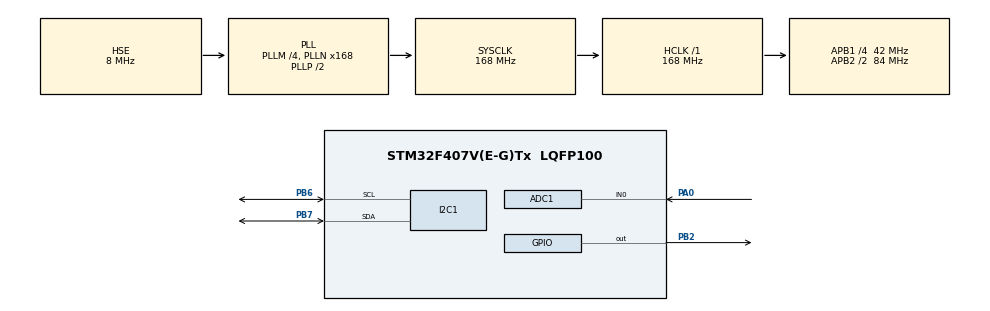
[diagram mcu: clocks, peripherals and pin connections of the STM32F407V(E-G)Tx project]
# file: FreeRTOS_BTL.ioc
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ADC1.Channel-0\#ChannelRegularConversion=ADC_CHANNEL_0
ADC1.NbrOfConversionFlag=1
ADC1.Rank-0\#ChannelRegularConversion=1
ADC1.SamplingTime-0\#ChannelRegularConversion=ADC_SAMPLETIME_3CYCLES
ADC1.master=1
FREERTOS.Tasks01=defaultTask,0,128,StartDefaultTask,Default,NULL,Dynamic,NULL,NULL
Mcu.Family=STM32F4
Mcu.Name=STM32F407V(E-G)Tx
Mcu.Package=LQFP100
NVIC.PriorityGroup=NVIC_PRIORITYGROUP_4
PA0-WKUP.Signal=ADCx_IN0
PB2.Signal=GPIO_Output
PB6.Mode=I2C
PB6.Signal=I2C1_SCL
PB7.Mode=I2C
PB7.Signal=I2C1_SDA
PH0-OSC_IN.Mode=HSE-External-Oscillator
PH0-OSC_IN.Signal=RCC_OSC_IN
PH1-OSC_OUT.Mode=HSE-External-Oscillator
PH1-OSC_OUT.Signal=RCC_OSC_OUT
ProjectManager.HeapSize=0x200
ProjectManager.StackSize=0x400
ProjectManager.TargetToolchain=MDK-ARM V5.27
RCC.48MHZClocksFreq_Value=84000000
RCC.AHBFreq_Value=168000000
RCC.APB1CLKDivider=RCC_HCLK_DIV4
RCC.APB1Freq_Value=42000000
RCC.APB1TimFreq_Value=84000000
RCC.APB2CLKDivider=RCC_HCLK_DIV2
RCC.APB2Freq_Value=84000000
RCC.APB2TimFreq_Value=168000000
RCC.CortexFreq_Value=168000000
RCC.HCLKFreq_Value=168000000
RCC.HSE_VALUE=8000000
RCC.HSI_VALUE=16000000
RCC.LSE_VALUE=32768
RCC.PLLM=4
RCC.PLLN=168
RCC.PLLSourceVirtual=RCC_PLLSOURCE_HSE
RCC.SYSCLKFreq_VALUE=168000000
RCC.SYSCLKSource=RCC_SYSCLKSOURCE_PLLCLK
RCC.VCOOutputFreq_Value=336000000
SH.ADCx_IN0.0=ADC1_IN0,IN0
VP_FREERTOS_VS_CMSIS_V1.Mode=CMSIS_V1
board=custom

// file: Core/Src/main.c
/* USER CODE BEGIN Header */
/**
  ******************************************************************************
  * @file           : main.c
  * @brief          : Main program body
  ******************************************************************************
  * @attention
  *
  * Copyright (c) 2023 STMicroelectronics.
  * All rights reserved.
  *
  * This software is licensed under terms that can be found in the LICENSE file
  * in the root directory of this software component.
  * If no LICENSE file comes with this software, it is provided AS-IS.
  *
  ******************************************************************************
  */
/* USER CODE END Header */
#include "main.h"
#include "cmsis_os.h"

/* USER CODE BEGIN Includes */
#include "CLCD_I2C.h"
#include "stdio.h"
#include "stdlib.h"
#include "string.h"
#include <stdint.h>
#include "FreeRTOS.h"
#include "task.h"
/* USER CODE END Includes */

ADC_HandleTypeDef hadc1;

I2C_HandleTypeDef hi2c1;

osThreadId defaultTaskHandle;
/* USER CODE BEGIN PV */
CLCD_I2C_Name LCD1;
#define RELAY_PIN GPIO_PIN_2
#define RELAY_PORT GPIOB
#define SENSOR_PIN GPIO_PIN_0
 #define SENSOR_PORT GPIOA
#define THRESHOLD 30     // nguong do am (%)
float value = 0;
float humidity = 0;
char buffer[20];
/* USER CODE END PV */

void SystemClock_Config(void);
static void MX_GPIO_Init(void);
static void MX_ADC1_Init(void);
static void MX_I2C1_Init(void);
void StartDefaultTask(void const * argument);
void vTaskReadSensor(void *pvParameters);
void vTaskPumpControl(void *pvParameters);

int main(void)
{

  /* MCU Configuration--------------------------------------------------------*/

  /* Reset of all peripherals, Initializes the Flash interface and the Systick. */
  HAL_Init();

  /* Configure the system clock */
  SystemClock_Config();

  /* Initialize all configured peripherals */
  MX_GPIO_Init();
  MX_ADC1_Init();
  MX_I2C1_Init();
  /* USER CODE BEGIN 2 */
 CLCD_I2C_Init(&LCD1, &hi2c1, 0x4e,20,4);
  /* USER CODE END 2 */

  /* Create the thread(s) */
  /* definition and creation of defaultTask */
  osThreadDef(defaultTask, StartDefaultTask, osPriorityNormal, 0, 128);
  defaultTaskHandle = osThreadCreate(osThread(defaultTask), NULL);
	  /* Create two tasks */
  xTaskCreate(vTaskReadSensor, "ReadSensor_Task", configMINIMAL_STACK_SIZE, NULL, tskIDLE_PRIORITY+1, NULL);
  xTaskCreate(vTaskPumpControl, "PumpControl_Task", configMINIMAL_STACK_SIZE, NULL, tskIDLE_PRIORITY+2, NULL);

  /* Start scheduler */
  osKernelStart();

  /* We should never get here as control is now taken by the scheduler */
  /* Infinite loop */
  while (1)
  {

  }
}

void SystemClock_Config(void)
{
  RCC_OscInitTypeDef RCC_OscInitStruct = {0};
  RCC_ClkInitTypeDef RCC_ClkInitStruct = {0};

  /** Configure the main internal regulator output voltage
  */
  __HAL_RCC_PWR_CLK_ENABLE();
  __HAL_PWR_VOLTAGESCALING_CONFIG(PWR_REGULATOR_VOLTAGE_SCALE1);

  /** Initializes the RCC Oscillators according to the specified parameters
  * in the RCC_OscInitTypeDef structure.
  */
  RCC_OscInitStruct.OscillatorType = RCC_OSCILLATORTYPE_HSE;
  RCC_OscInitStruct.HSEState = RCC_HSE_ON;
  RCC_OscInitStruct.PLL.PLLState = RCC_PLL_ON;
  RCC_OscInitStruct.PLL.PLLSource = RCC_PLLSOURCE_HSE;
  RCC_OscInitStruct.PLL.PLLM = 4;
  RCC_OscInitStruct.PLL.PLLN = 168;
  RCC_OscInitStruct.PLL.PLLP = RCC_PLLP_DIV2;
  RCC_OscInitStruct.PLL.PLLQ = 4;
  if (HAL_RCC_OscConfig(&RCC_OscInitStruct) != HAL_OK)
  {
    Error_Handler();
  }

  /** Initializes the CPU, AHB and APB buses clocks
  */
  RCC_ClkInitStruct.ClockType = RCC_CLOCKTYPE_HCLK|RCC_CLOCKTYPE_SYSCLK
                              |RCC_CLOCKTYPE_PCLK1|RCC_CLOCKTYPE_PCLK2;
  RCC_ClkInitStruct.SYSCLKSource = RCC_SYSCLKSOURCE_PLLCLK;
  RCC_ClkInitStruct.AHBCLKDivider = RCC_SYSCLK_DIV1;
  RCC_ClkInitStruct.APB1CLKDivider = RCC_HCLK_DIV4;
  RCC_ClkInitStruct.APB2CLKDivider = RCC_HCLK_DIV2;

  if (HAL_RCC_ClockConfig(&RCC_ClkInitStruct, FLASH_LATENCY_5) != HAL_OK)
  {
    Error_Handler();
  }
}

static void MX_ADC1_Init(void)
{

  ADC_ChannelConfTypeDef sConfig = {0};

  /** Configure the global features of the ADC (Clock, Resolution, Data Alignment and number of conversion)
  */
  hadc1.Instance = ADC1;
  hadc1.Init.ClockPrescaler = ADC_CLOCK_SYNC_PCLK_DIV4;
  hadc1.Init.Resolution = ADC_RESOLUTION_12B;
  hadc1.Init.ScanConvMode = DISABLE;
  hadc1.Init.ContinuousConvMode = DISABLE;
  hadc1.Init.DiscontinuousConvMode = DISABLE;
  hadc1.Init.ExternalTrigConvEdge = ADC_EXTERNALTRIGCONVEDGE_NONE;
  hadc1.Init.ExternalTrigConv = ADC_SOFTWARE_START;
  hadc1.Init.DataAlign = ADC_DATAALIGN_RIGHT;
  hadc1.Init.NbrOfConversion = 1;
  hadc1.Init.DMAContinuousRequests = DISABLE;
  hadc1.Init.EOCSelection = ADC_EOC_SINGLE_CONV;
  if (HAL_ADC_Init(&hadc1) != HAL_OK)
  {
    Error_Handler();
  }

  /** Configure for the selected ADC regular channel its corresponding rank in the sequencer and its sample time.
  */
  sConfig.Channel = ADC_CHANNEL_0;
  sConfig.Rank = 1;
  sConfig.SamplingTime = ADC_SAMPLETIME_3CYCLES;
  if (HAL_ADC_ConfigChannel(&hadc1, &sConfig) != HAL_OK)
  {
    Error_Handler();
  }

}

static void MX_I2C1_Init(void)
{

  hi2c1.Instance = I2C1;
  hi2c1.Init.ClockSpeed = 100000;
  hi2c1.Init.DutyCycle = I2C_DUTYCYCLE_2;
  hi2c1.Init.OwnAddress1 = 0;
  hi2c1.Init.AddressingMode = I2C_ADDRESSINGMODE_7BIT;
  hi2c1.Init.DualAddressMode = I2C_DUALADDRESS_DISABLE;
  hi2c1.Init.OwnAddress2 = 0;
  hi2c1.Init.GeneralCallMode = I2C_GENERALCALL_DISABLE;
  hi2c1.Init.NoStretchMode = I2C_NOSTRETCH_DISABLE;
  if (HAL_I2C_Init(&hi2c1) != HAL_OK)
  {
    Error_Handler();
  }

}

static void MX_GPIO_Init(void)
{
  GPIO_InitTypeDef GPIO_InitStruct = {0};

  /* GPIO Ports Clock Enable */
  __HAL_RCC_GPIOH_CLK_ENABLE();
  __HAL_RCC_GPIOA_CLK_ENABLE();
  __HAL_RCC_GPIOB_CLK_ENABLE();

  /*Configure GPIO pin Output Level */
 HAL_GPIO_WritePin(RELAY_PORT, RELAY_PIN, GPIO_PIN_RESET);
  /*Configure GPIO pin : PB2 */
	  GPIO_InitStruct.Pin = RELAY_PIN;
	  GPIO_InitStruct.Mode = GPIO_MODE_OUTPUT_PP;
		GPIO_InitStruct.Pull = GPIO_NOPULL;
	  GPIO_InitStruct.Speed = GPIO_SPEED_FREQ_LOW;
		HAL_GPIO_Init(GPIOB, &GPIO_InitStruct);
		 /*Configure GPIO pin : PA0 */
		GPIO_InitStruct.Pin = SENSOR_PIN;
		GPIO_InitStruct.Mode = GPIO_MODE_ANALOG;
		GPIO_InitStruct.Pull = GPIO_NOPULL;
		HAL_GPIO_Init(SENSOR_PORT, &GPIO_InitStruct);

}

void StartDefaultTask(void const * argument)
{
  for(;;)
  {
    osDelay(1);
  }
}
void vTaskReadSensor(void *pvParameters)
{
  for (;;)
  {
    /* Read humidity from sensor */
    // Add your code here...
		HAL_ADC_Start(&hadc1); // bat dau chuyen doi ADC
    HAL_ADC_PollForConversion(&hadc1, 100); // doi cho chuyen doi hoan thanh

		// doc gia tri cam bien
    value = HAL_ADC_GetValue(&hadc1);
		humidity =100-(value / 4095.0) * 100;
    /* Update value of variable humidity */
    // Add your code here...
		sprintf(buffer, "DO AM: %.1f", humidity);

		// hien thi gia tri len LCD
    CLCD_I2C_SetCursor(&LCD1, 0, 0);
    CLCD_I2C_WriteString(&LCD1, buffer);
		CLCD_I2C_WriteString(&LCD1," %");
    /* Delay for 1 second */
    vTaskDelay(pdMS_TO_TICKS(1000));
  }
}

/* Task to control pump */
void vTaskPumpControl(void *pvParameters)
{
  for (;;)
  {
    /* Check if humidity is less than threshold */
     // kiem tra nguong do am va bat tat relay
    if (humidity < THRESHOLD) {

			HAL_GPIO_WritePin(RELAY_PORT, RELAY_PIN, GPIO_PIN_SET);

			// Hien thi trang thai bom
      CLCD_I2C_SetCursor(&LCD1, 0, 1);
      CLCD_I2C_WriteString(&LCD1, "BOM NUOC: ON ");
    } else {

			HAL_GPIO_WritePin(RELAY_PORT, RELAY_PIN, GPIO_PIN_RESET);

			// Hien thi trang thai dung bom
      CLCD_I2C_SetCursor(&LCD1, 0, 1);
      CLCD_I2C_WriteString(&LCD1, "BOM NUOC: OFF ");

    }

    /* Delay for 1 seconds */
    vTaskDelay(pdMS_TO_TICKS(1000));
  }
}

void Error_Handler(void)
{
  __disable_irq();
  while (1)
  {
  }
}
